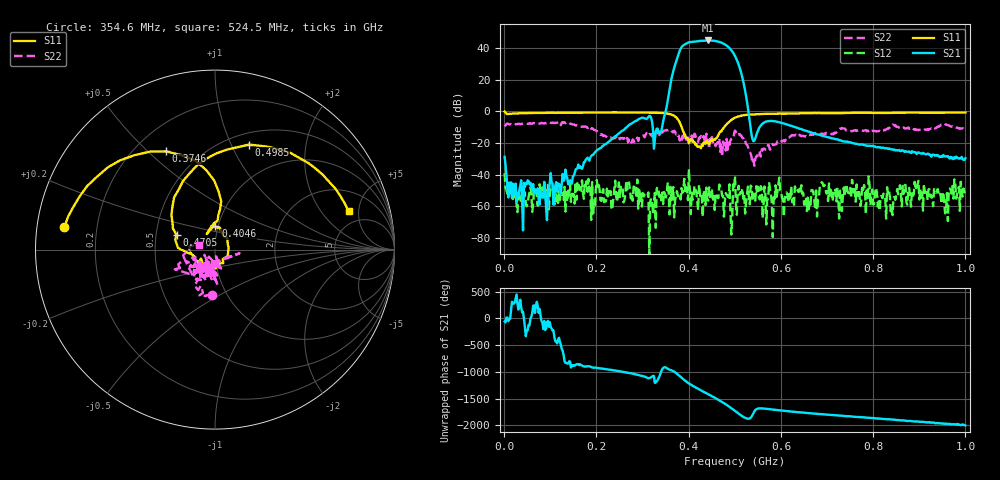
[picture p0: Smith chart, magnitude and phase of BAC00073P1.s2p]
!measured: 2026-10-27T15:01:53
!cal_instance: BBtestOct27
!cal_created: 2026-10-27T14:45
!cal_file: BBtesting.cal
!port1_delay_ps: -58.63
!port2_delay_ps: -59.31
!host: dhcp-10-250-247-203.harvard.edu
! Created with skrf 2.1.0 (http://scikit-rf.org).
# Hz S RI R 50.0
!freq ReS11 ImS11 ReS21 ImS21 ReS12 ImS12 ReS22 ImS22
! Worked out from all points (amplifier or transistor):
!   501 points, 1 MHz to 1 GHz, reference 50 ohm
!   highest |S21| = 44.8 dB at 442.6 MHz (marker M1)
!   |S21| within 3 dB of that: 388.9 MHz to 481.1 MHz (92.19 MHz wide, 21.2 % of centre)
!   unconditionally stable (mu >= 1): start of sweep to 390.1 MHz; 401.8 MHz to 466.4 MHz; 500.7 MHz to end of sweep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
!   at 166.8 MHz: K = 1517.20, MAG = -27.7 dB, |S12| = -50.1 dB
!   at 500.5 MHz: K = 0.92, MSG = 37.8 dB, |S12| = -40.7 dB
!   at 1 GHz: K = 1023.08, MAG = -21.0 dB, |S12| = -53.8 dB
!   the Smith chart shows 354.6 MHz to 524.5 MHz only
!   S11 on the Smith chart (normalised r, x): 354.6 MHz: 0.08, +0.07; 374.6 MHz: 0.33, +0.57; 404.6 MHz: 0.97, +0.26; 470.5 MHz: 0.64, +0.11; 498.5 MHz: 0.62, +1.17; 524.5 MHz: 3.63, +3.86
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1000000  -0.3463 0.9188  0.0187 -0.0312  -0.00457 0.0102  0.3183 -0.088
1.68832e8  0.4941 -0.764  -0.0146 -0.00499  -0.00271 0.00603  -0.0294 -0.329
3.34666e8  -0.8323 -0.3472  0.1817 -0.1579  0.000277 0.00317  0.0343 -0.1935
3.54646e8  -0.8386 0.1254  -1.638 1.488  -0.00355 -0.00449  -0.0184 -0.2506
3.74626e8  -0.274 0.5474  32.15 31.97  0.00266 0.00141  -0.1181 -0.1627
3.86614e8  0.0347 0.2694  84.04 -78.86  -0.00118 -0.00242  -0.1402 -0.096
3.94606e8  -0.00843 0.1448  -22.58 -136.2  0.00372 0.00151  -0.0587 -0.1129
4.04596e8  0.00183 0.1303  -144.2 -58.87  -0.00012 -0.000555  -0.0728 -0.0841
4.14586e8  0.0481 0.0735  -141.3 76.51  -0.0023 0.00246  -0.052 -0.1702
4.24576e8  0.0587 -0.0437  -41.51 163.3  -0.000259 -0.00233  -0.00742 -0.1428
4.32568e8  0.00461 -0.1049  64.05 158.1  0.00295 -0.00137  -0.00153 -0.1665
4.42558e8  -0.0659 -0.0859  160.7 66.93  0.000485 0.00142  -0.0193 -0.115
4.5055e8  -0.121 -0.0514  168.3 -41.94  0.00305 -0.000948  -0.105 -0.1141
4.58542e8  -0.138 -0.0155  102.3 -132.3  0.00133 -0.00229  -0.0481 -0.0636
4.7053e8  -0.214 0.08  -55.9 -138  0.00126 -0.00347  0.0222 -0.0987
4.82518e8  -0.2018 0.3355  -118.9 -5.598  0.00127 -0.00185  -0.0202 -0.1333
4.98502e8  0.1889 0.585  5.03 63.12  -0.00196 0.00299  -0.1431 -0.1349
5.005e8  0.2531 0.5784  16.84 53.24  0.00393 0.00831  -0.2242 -0.1093
5.24476e8  0.7451 0.2126  1.268 -2.806  0.00119 0.000469  -0.0888 0.0277
6.68332e8  0.0551 -0.877  0.1908 0.083  0.00209 -0.0025  0.044 -0.1763
8.34166e8  -0.6149 -0.6485  0.00723 -0.0669  0.000834 0.00292  -0.1754 -0.227
1e9  -0.8992 -0.2033  -0.0311 0.0112  -0.00143 -0.00146  -0.2307 -0.1613
